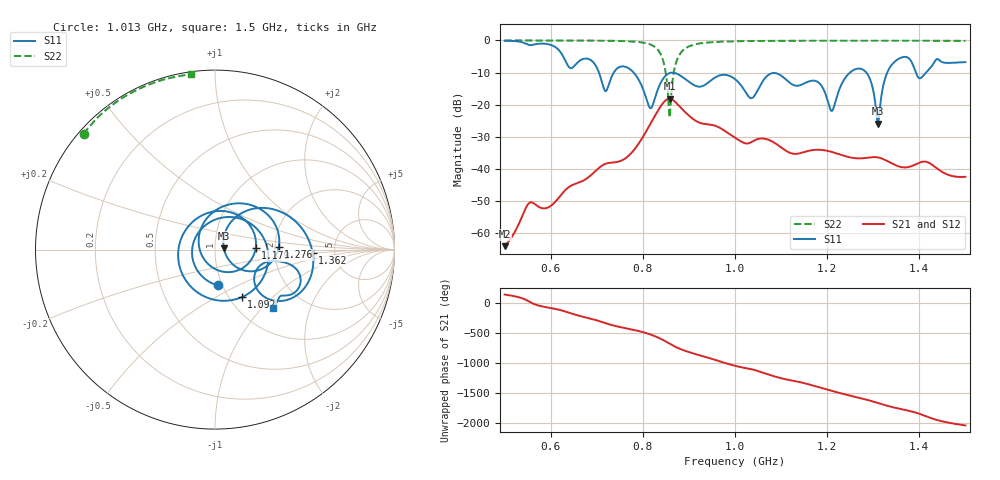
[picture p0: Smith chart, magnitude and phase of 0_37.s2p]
! TOUCHSTONE file generated by CST MICROWAVE STUDIO
! Date and time: Sat Oct 24 10:47:51 2020
! Project name: Scenario_1_Planar_Body_Tissue_Center.cst
! Parameters = {hfat=3; hmuscle=50; hskin=1.5; hgap=25; Wtissue=700; Ltissue=700; L_HA=400; MT=2.54; Rad_Dielectric=30; Rad_Lower=7.3; Rad_Upper=30; a_HA=580; a_WG=246; b_HA=500; b_WG=121; c_HA=0; c_WG=187; d_feed=85; dx1=796.52; h_feed=15; h_lower=18; h_upper=40}
! Header version: 2018
! Port assignment regex: !\s*Touchstone port\s*([0-9]+)\s*=\s*(CST MWS port|CST DS port)\s*([0-9]+|Zmin|Zmax)\s*\(\"(.*)\"\)(\s*mode\s*([0-9]+))?.*
! Touchstone port assignment:
! Touchstone port 1 = CST MWS port 1 ("")
! Touchstone port 2 = CST MWS port 2 ("")
# GHz S DB R 50
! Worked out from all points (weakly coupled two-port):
!   1003 points, 500 MHz to 1.5 GHz, reference 50 ohm
!   highest |S21| = -18.16 dB at 858 MHz (marker M1); lowest = -64.1 dB at 500 MHz (marker M2)
!   lowest |S11| = -26.0 dB at 1.31 GHz (marker M3), VSWR 1.11, Z = 55.2 + j0.693 ohm
!   |S11| at or under -10 dB: 704.7 MHz to 736.9 MHz (32.21 MHz wide, 4.47 % of centre); 780 MHz to 1.249 GHz (469.4 MHz wide, 46.3 % of centre); 1.285 GHz to 1.33 GHz (45.54 MHz wide, 3.48 % of centre) (the widest 3 of 4)
!   |S22| runs from -24.0 to 0.0 dB; largest |S21 - S12| = 3.5e-06
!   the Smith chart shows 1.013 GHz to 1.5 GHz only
!   S11 on the Smith chart (normalised r, x): 1.013 GHz: 0.95, -0.40; 1.092 GHz: 1.14, -0.67; 1.179 GHz: 1.59, +0.03; 1.276 GHz: 2.10, +0.08; 1.362 GHz: 3.38, -0.17; 1.5 GHz: 1.40, -1.16
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0.5  -0.10 -121.7  -64.09 138.1  -64.09 138.1  -0.01 151.1
0.593  -1.13 -172.0  -52.11 -75.7  -52.11 -75.7  -0.02 144.7
0.667  -5.96 158.0  -43.93 135.1  -43.93 135.1  -0.04 138.4
0.711  -12.86 33.6  -39.02 43.0  -39.02 43.0  -0.08 133.5
0.748  -8.37 177.1  -37.71 -37.9  -37.71 -37.9  -0.16 127.9
0.799  -14.66 41.5  -30.32 -123.5  -30.32 -123.5  -0.64 113.3
0.834  -14.74 -172.7  -21.59 140.4  -21.59 140.4  -3.18 84.1
0.858  -10.17 96.4  -18.16 41.8  -18.16 41.8  -24.03 -46.6
0.896  -12.46 -32.3  -22.90 -87.6  -22.90 -87.6  -2.16 171.1
0.959  -11.37 80.1  -26.68 127.5  -26.68 127.5  -0.47 147.0
1  -12.04 -44.3  -30.30 34.9  -30.30 34.9  -0.27 140.3
1.013  -13.99 -85.4  -31.46 11.4  -31.46 11.4  -0.23 138.6
1.055  -13.95 64.8  -30.56 -65.6  -30.56 -65.6  -0.16 133.9
1.092  -10.35 -60.8  -32.50 -155.0  -32.50 -155.0  -0.13 130.4
1.167  -12.54 37.8  -34.19 72.1  -34.19 72.1  -0.10 124.2
1.179  -12.88 2.5  -34.05 45.8  -34.05 45.8  -0.09 123.3
1.21  -21.98 -153.3  -34.73 -22.0  -34.73 -22.0  -0.09 120.8
1.276  -8.98 2.6  -36.71 -149.0  -36.71 -149.0  -0.09 115.9
1.31  -25.98 7.2  -36.43 136.8  -36.43 136.8  -0.08 113.3
1.334  -8.95 40.6  -37.83 83.1  -37.83 83.1  -0.09 111.5
1.362  -5.29 -1.9  -39.49 33.0  -39.49 33.0  -0.09 109.3
1.5  -6.75 -45.2  -42.48 124.0  -42.48 124.0  -0.12 97.9
